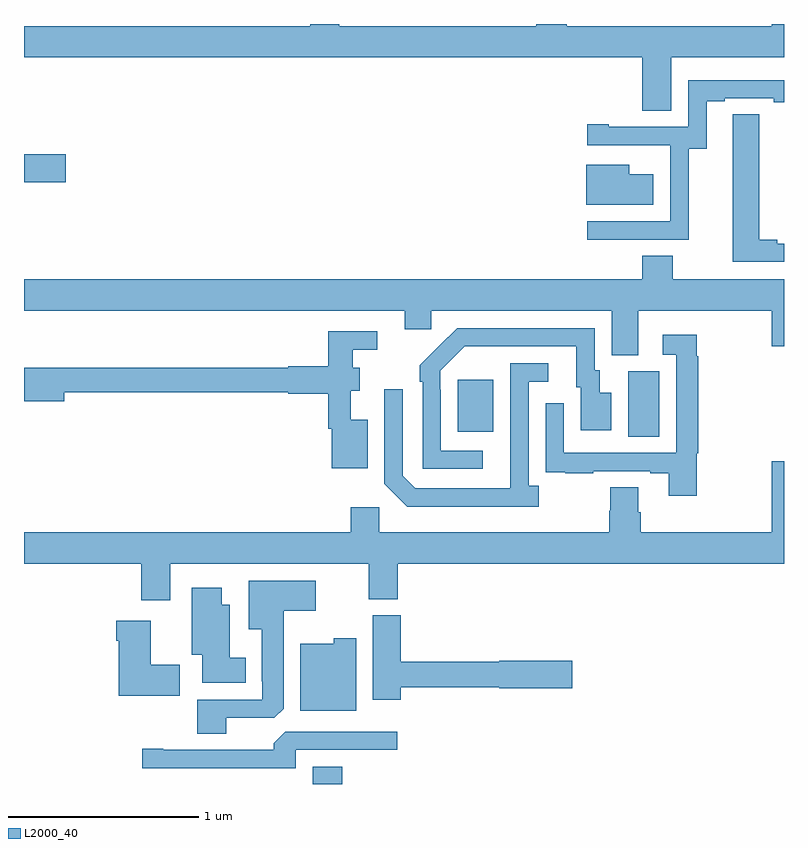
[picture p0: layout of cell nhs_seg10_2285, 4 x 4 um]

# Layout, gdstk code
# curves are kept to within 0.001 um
import gdstk
lib = gdstk.Library(unit=1e-6, precision=1e-09)
def R(c, l, rs):  # rectangles x0, y0, x1, y1
    for r in rs: c.add(gdstk.rectangle(r[:2], r[2:], *l))
def P(c, l, *ps):  # polygons
    for p in ps: c.add(gdstk.Polygon(p, *l))
L2000_40 = (2000, 40)

nhs_seg10_2285 = lib.new_cell('nhs_seg10_2285')
R(nhs_seg10_2285, L2000_40, [(234.521,1288.5,234.674,1288.591), (236.18,1290.328,236.344,1290.672), (235.283,1290.353,235.471,1290.628), (233,1291.667,233.221,1291.814)])
P(nhs_seg10_2285, L2000_40, [(236.407,1292.324),(237,1292.324),(237,1292.5),(236.936,1292.5),(236.936,1292.488),(235.856,1292.488),(235.856,1292.5),(235.696,1292.5),(235.696,1292.488),(234.658,1292.488),(234.658,1292.5),(234.506,1292.5),(234.506,1292.488),(233,1292.488),(233,1292.324),(236.255,1292.324),(236.255,1292.044),(236.407,1292.044)],
  [(236.499,1291.843),(236.593,1291.843),(236.593,1292.094),(236.689,1292.094),(236.689,1292.109),(236.945,1292.109),(236.945,1292.089),(237,1292.089),(237,1292.205),(236.496,1292.205),(236.496,1291.959),(236.077,1291.959),(236.077,1291.972),(235.965,1291.972),(235.965,1291.863),(236.399,1291.863),(236.399,1291.862),(236.4,1291.862),(236.4,1291.461),(235.965,1291.461),(235.965,1291.365),(236.499,1291.365)],
  [(237,1291.344),(236.965,1291.344),(236.965,1291.364),(236.869,1291.364),(236.869,1292.024),(236.73,1292.024),(236.73,1291.916),(236.729,1291.916),(236.729,1291.248),(237,1291.248)],
  [(236.311,1291.708),(236.185,1291.708),(236.185,1291.759),(235.958,1291.759),(235.958,1291.55),(236.311,1291.55)],
  [(236.233,1290.992),(236.936,1290.992),(236.936,1290.804),(237,1290.804),(237,1291.156),(236.415,1291.156),(236.415,1291.28),(236.255,1291.28),(236.255,1291.156),(233,1291.156),(233,1290.992),(235.004,1290.992),(235.004,1290.894),(235.143,1290.894),(235.143,1290.992),(236.093,1290.992),(236.093,1290.757),(236.233,1290.757)],
  [(235.414,1290.255),(235.194,1290.255),(235.194,1290.575),(235.191,1290.575),(235.191,1290.675),(235.32,1290.804),(235.907,1290.804),(235.907,1290.588),(235.931,1290.588),(235.931,1290.363),(236.092,1290.363),(236.092,1290.559),(236.029,1290.559),(236.029,1290.678),(236.004,1290.678),(236.004,1290.9),(235.28,1290.9),(235.083,1290.705),(235.083,1290.617),(235.098,1290.617),(235.098,1290.159),(235.414,1290.159)],
  [(234.808,1290.418),(234.719,1290.418),(234.719,1290.569),(234.766,1290.569),(234.766,1290.691),(234.73,1290.691),(234.73,1290.786),(234.859,1290.786),(234.859,1290.882),(234.601,1290.882),(234.601,1290.699),(234.39,1290.699),(234.39,1290.691),(233,1290.691),(233,1290.515),(233.212,1290.515),(233.212,1290.562),(234.39,1290.562),(234.39,1290.554),(234.601,1290.554),(234.601,1290.369),(234.62,1290.369),(234.62,1290.161),(234.808,1290.161)],
  [(236.542,1290.24),(236.549,1290.24),(236.549,1290.752),(236.542,1290.752),(236.542,1290.865),(236.361,1290.865),(236.361,1290.759),(236.433,1290.759),(236.433,1290.243),(235.842,1290.243),(235.842,1290.505),(235.746,1290.505),(235.746,1290.25),(235.747,1290.25),(235.747,1290.141),(235.849,1290.141),(235.849,1290.135),(235.997,1290.135),(235.997,1290.147),(236.297,1290.147),(236.297,1290.135),(236.393,1290.135),(236.393,1290.018),(236.542,1290.018)],
  [(235.708,1290.07),(235.656,1290.07),(235.656,1290.618),(235.759,1290.618),(235.759,1290.714),(235.56,1290.714),(235.559,1290.057),(235.059,1290.057),(234.993,1290.123),(234.993,1290.577),(234.897,1290.577),(234.897,1290.081),(235.018,1289.96),(235.708,1289.96)],
  [(233.77,1289.66),(234.815,1289.66),(234.815,1289.473),(234.968,1289.473),(234.968,1289.66),(237,1289.66),(237,1290.199),(236.936,1290.199),(236.936,1289.824),(236.246,1289.824),(236.246,1289.93),(236.233,1289.93),(236.233,1290.062),(236.086,1290.062),(236.086,1289.937),(236.081,1289.937),(236.081,1289.824),(234.87,1289.824),(234.87,1289.956),(234.719,1289.956),(234.719,1289.824),(233,1289.824),(233,1289.66),(233.618,1289.66),(233.618,1289.466),(233.77,1289.466)],
  [(234.064,1288.848),(234.318,1288.848),(234.367,1288.897),(234.367,1289.411),(234.535,1289.411),(234.535,1289.569),(234.182,1289.569),(234.182,1289.315),(234.251,1289.315),(234.251,1289.041),(234.255,1289.041),(234.255,1288.944),(233.912,1288.944),(233.912,1288.765),(234.064,1288.765)],
  [(234.166,1289.164),(234.082,1289.164),(234.082,1289.443),(234.04,1289.443),(234.04,1289.533),(233.882,1289.533),(233.882,1289.18),(233.939,1289.18),(233.939,1289.033),(234.166,1289.033)],
  [(234.983,1289.008),(235.5,1289.008),(235.5,1289.003),(235.885,1289.003),(235.885,1289.15),(235.5,1289.15),(235.5,1289.144),(234.983,1289.144),(234.983,1289.388),(234.836,1289.388),(234.836,1288.944),(234.983,1288.944)],
  [(233.821,1289.127),(233.668,1289.127),(233.668,1289.359),(233.486,1289.359),(233.486,1289.255),(233.498,1289.255),(233.498,1288.964),(233.821,1288.964)],
  [(234.748,1289.266),(234.63,1289.266),(234.63,1289.239),(234.455,1289.239),(234.455,1288.886),(234.748,1288.886)],
  [(234.429,1288.68),(234.964,1288.68),(234.964,1288.776),(234.375,1288.776),(234.314,1288.714),(234.314,1288.68),(233.734,1288.68),(233.734,1288.685),(233.622,1288.685),(233.622,1288.584),(234.429,1288.584)])

lib.write_gds('nhs_seg10_2285.gds')
